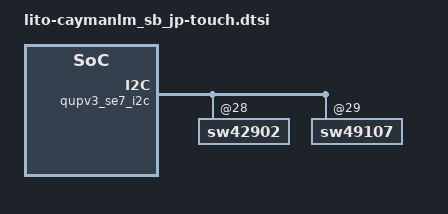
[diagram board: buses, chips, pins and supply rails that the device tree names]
// SPDX-License-Identifier: GPL-2.0-only
/*
 * Copyright (c) 2018-2019, The Linux Foundation. All rights reserved.
 */

#include "../lito-caymanlm_common/lito-caymanlm_common-touch.dtsi"

&qupv3_se7_i2c {
	#address-cells = <1>;
	#size-cells = <0>;

	status = "ok";

	sw42902@28 {
		status = "ok";
	};

	sw42000@28 {
		status = "disabled";
		pinctrl-names = "touch_pin_active", "touch_pin_sleep", "touch_pm8150l_gpio_default";
		pinctrl-0 = <&ts_reset_active &ts_int_active>;
		pinctrl-1 = <&ts_reset_suspend &ts_int_suspend>;
		pinctrl-2 = <&touch_pm8150l_gpio_default>;
	};

	sw49107@29 {
		status = "ok";
	};
};

